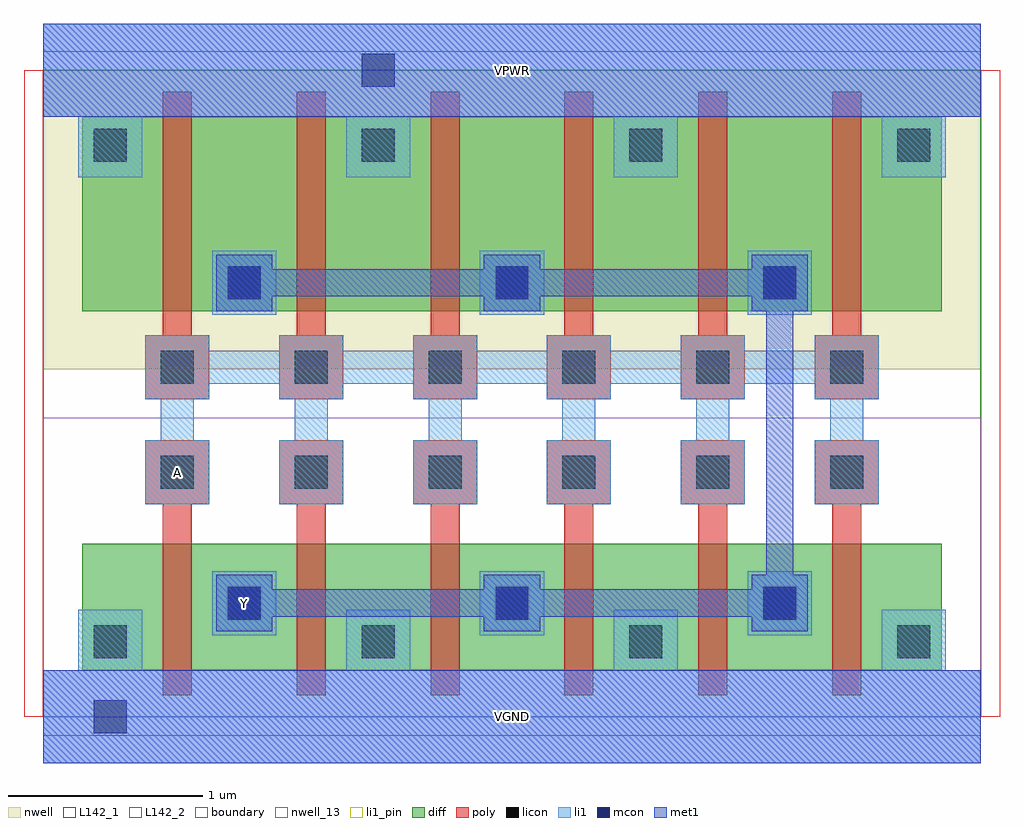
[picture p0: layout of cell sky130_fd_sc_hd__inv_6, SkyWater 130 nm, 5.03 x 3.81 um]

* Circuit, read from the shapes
.subckt sky130_fd_sc_hd__inv_6 A VGND VPWR Y
XM1 Y A VGND VSUBS sky130_fd_pr__nfet_01v8 w=0.65 l=0.15 m=6
XM2 Y A VPWR n1 sky130_fd_pr__pfet_01v8 w=1 l=0.15 m=6
.ends

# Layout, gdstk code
import gdstk
lib = gdstk.Library(unit=1e-6, precision=1e-09)
def R(c, l, rs):  # rectangles x0, y0, x1, y1
    for r in rs: c.add(gdstk.rectangle(r[:2], r[2:], *l))
def A(c, l, x, y, w, h, nx, ny, dx, dy):  # array of equal rectangles
    R(c, l, [(x+i*dx, y+j*dy, x+i*dx+w, y+j*dy+h) for i in range(nx) for j in range(ny)])
def P(c, l, *ps):  # polygons
    for p in ps: c.add(gdstk.Polygon(p, *l))
nwell_13 = (64, 13)
nwell = (64, 20)
diff = (65, 20)
poly = (66, 20)
licon = (66, 44)
li1_pin = (67, 16)
li1 = (67, 20)
mcon = (67, 44)
met1 = (68, 20)
L142_1 = (142, 1)
L142_2 = (142, 2)
boundary = (235, 4)

sky130_fd_sc_hd__inv_6 = lib.new_cell('sky130_fd_sc_hd__inv_6')
R(sky130_fd_sc_hd__inv_6, nwell_13, [(0,0,4.83,1.54)])
R(sky130_fd_sc_hd__inv_6, nwell, [(0,1.79,4.83,3.33)])
A(sky130_fd_sc_hd__inv_6, diff, 0.615, 0.24, 0.69, 0.65, 5, 1, 0.69, 0)
A(sky130_fd_sc_hd__inv_6, diff, 0.615, 2.09, 0.69, 1, 5, 1, 0.69, 0)
R(sky130_fd_sc_hd__inv_6, diff, [(0.2,0.24,4.63,0.89), (0.2,0.24,0.615,0.89), (4.065,0.24,4.63,0.89), (0.2,2.09,4.63,3.09), (0.2,2.09,0.615,3.09), (4.065,2.09,4.63,3.09)])
P(sky130_fd_sc_hd__inv_6, poly, [(0.615,0.11),(0.615,1.095),(0.525,1.095),(0.525,1.425),(0.855,1.425),(0.855,1.095),(0.765,1.095),(0.765,0.11)],
  [(1.305,0.11),(1.305,1.095),(1.215,1.095),(1.215,1.425),(1.545,1.425),(1.545,1.095),(1.455,1.095),(1.455,0.11)],
  [(1.995,0.11),(1.995,1.095),(1.905,1.095),(1.905,1.425),(2.235,1.425),(2.235,1.095),(2.145,1.095),(2.145,0.11)],
  [(2.685,0.11),(2.685,1.095),(2.595,1.095),(2.595,1.425),(2.925,1.425),(2.925,1.095),(2.835,1.095),(2.835,0.11)],
  [(3.375,0.11),(3.375,1.095),(3.285,1.095),(3.285,1.425),(3.615,1.425),(3.615,1.095),(3.525,1.095),(3.525,0.11)],
  [(4.065,0.11),(4.065,1.095),(3.975,1.095),(3.975,1.425),(4.305,1.425),(4.305,1.095),(4.215,1.095),(4.215,0.11)],
  [(0.525,1.635),(0.525,1.965),(0.615,1.965),(0.615,3.22),(0.765,3.22),(0.765,1.965),(0.855,1.965),(0.855,1.635)],
  [(1.215,1.635),(1.215,1.965),(1.305,1.965),(1.305,3.22),(1.455,3.22),(1.455,1.965),(1.545,1.965),(1.545,1.635)],
  [(1.905,1.635),(1.905,1.965),(1.995,1.965),(1.995,3.22),(2.145,3.22),(2.145,1.965),(2.235,1.965),(2.235,1.635)],
  [(2.595,1.635),(2.595,1.965),(2.685,1.965),(2.685,3.22),(2.835,3.22),(2.835,1.965),(2.925,1.965),(2.925,1.635)],
  [(3.285,1.635),(3.285,1.965),(3.375,1.965),(3.375,3.22),(3.525,3.22),(3.525,1.965),(3.615,1.965),(3.615,1.635)],
  [(3.975,1.635),(3.975,1.965),(4.065,1.965),(4.065,3.22),(4.215,3.22),(4.215,1.965),(4.305,1.965),(4.305,1.635)])
A(sky130_fd_sc_hd__inv_6, licon, 0.26, 0.3, 0.17, 0.17, 4, 2, 1.38, 2.56)
A(sky130_fd_sc_hd__inv_6, licon, 0.95, 0.5, 0.17, 0.17, 3, 2, 1.38, 1.65)
A(sky130_fd_sc_hd__inv_6, licon, 0.605, 1.175, 0.17, 0.17, 6, 2, 0.69, 0.54)
R(sky130_fd_sc_hd__inv_6, li1_pin, [(0,-0.24,4.83,0.24), (0.87,0.42,1.2,0.75), (0,3.09,4.83,3.57)])
P(sky130_fd_sc_hd__inv_6, li1_pin, [(0.525,1.095),(0.525,1.425),(0.605,1.425),(0.605,1.635),(0.525,1.635),(0.525,1.965),(0.855,1.965),(0.855,1.885),(1.215,1.885),(1.215,1.965),(1.545,1.965),(1.545,1.885),(1.905,1.885),(1.905,1.965),(2.235,1.965),(2.235,1.885),(2.595,1.885),(2.595,1.965),(2.925,1.965),(2.925,1.885),(3.285,1.885),(3.285,1.965),(3.615,1.965),(3.615,1.885),(3.975,1.885),(3.975,1.965),(4.305,1.965),(4.305,1.635),(4.225,1.635),(4.225,1.425),(4.305,1.425),(4.305,1.095),(3.975,1.095),(3.975,1.425),(4.055,1.425),(4.055,1.635),(3.975,1.635),(3.975,1.715),(3.615,1.715),(3.615,1.635),(3.535,1.635),(3.535,1.425),(3.615,1.425),(3.615,1.095),(3.285,1.095),(3.285,1.425),(3.365,1.425),(3.365,1.635),(3.285,1.635),(3.285,1.715),(2.925,1.715),(2.925,1.635),(2.845,1.635),(2.845,1.425),(2.925,1.425),(2.925,1.095),(2.595,1.095),(2.595,1.425),(2.675,1.425),(2.675,1.635),(2.595,1.635),(2.595,1.715),(2.235,1.715),(2.235,1.635),(2.155,1.635),(2.155,1.425),(2.235,1.425),(2.235,1.095),(1.905,1.095),(1.905,1.425),(1.985,1.425),(1.985,1.635),(1.905,1.635),(1.905,1.715),(1.545,1.715),(1.545,1.635),(1.465,1.635),(1.465,1.425),(1.545,1.425),(1.545,1.095),(1.215,1.095),(1.215,1.425),(1.295,1.425),(1.295,1.635),(1.215,1.635),(1.215,1.715),(0.855,1.715),(0.855,1.635),(0.775,1.635),(0.775,1.425),(0.855,1.425),(0.855,1.095)])
A(sky130_fd_sc_hd__inv_6, li1, 0.87, 0.42, 0.33, 0.33, 3, 2, 1.38, 1.65)
P(sky130_fd_sc_hd__inv_6, li1, [(0.18,2.78),(0.18,3.09),(0,3.09),(0,3.57),(4.83,3.57),(4.83,3.09),(4.65,3.09),(4.65,2.78),(4.32,2.78),(4.32,3.09),(3.27,3.09),(3.27,2.78),(2.94,2.78),(2.94,3.09),(1.89,3.09),(1.89,2.78),(1.56,2.78),(1.56,3.09),(0.51,3.09),(0.51,2.78)],
  [(0,-0.24),(0,0.24),(0.18,0.24),(0.18,0.55),(0.51,0.55),(0.51,0.24),(1.56,0.24),(1.56,0.55),(1.89,0.55),(1.89,0.24),(2.94,0.24),(2.94,0.55),(3.27,0.55),(3.27,0.24),(4.32,0.24),(4.32,0.55),(4.65,0.55),(4.65,0.24),(4.83,0.24),(4.83,-0.24)],
  [(0.525,1.095),(0.525,1.425),(0.605,1.425),(0.605,1.635),(0.525,1.635),(0.525,1.965),(0.855,1.965),(0.855,1.885),(1.215,1.885),(1.215,1.965),(1.545,1.965),(1.545,1.885),(1.905,1.885),(1.905,1.965),(2.235,1.965),(2.235,1.885),(2.595,1.885),(2.595,1.965),(2.925,1.965),(2.925,1.885),(3.285,1.885),(3.285,1.965),(3.615,1.965),(3.615,1.885),(3.975,1.885),(3.975,1.965),(4.305,1.965),(4.305,1.635),(4.225,1.635),(4.225,1.425),(4.305,1.425),(4.305,1.095),(3.975,1.095),(3.975,1.425),(4.055,1.425),(4.055,1.635),(3.975,1.635),(3.975,1.715),(3.615,1.715),(3.615,1.635),(3.535,1.635),(3.535,1.425),(3.615,1.425),(3.615,1.095),(3.285,1.095),(3.285,1.425),(3.365,1.425),(3.365,1.635),(3.285,1.635),(3.285,1.715),(2.925,1.715),(2.925,1.635),(2.845,1.635),(2.845,1.425),(2.925,1.425),(2.925,1.095),(2.595,1.095),(2.595,1.425),(2.675,1.425),(2.675,1.635),(2.595,1.635),(2.595,1.715),(2.235,1.715),(2.235,1.635),(2.155,1.635),(2.155,1.425),(2.235,1.425),(2.235,1.095),(1.905,1.095),(1.905,1.425),(1.985,1.425),(1.985,1.635),(1.905,1.635),(1.905,1.715),(1.545,1.715),(1.545,1.635),(1.465,1.635),(1.465,1.425),(1.545,1.425),(1.545,1.095),(1.215,1.095),(1.215,1.425),(1.295,1.425),(1.295,1.635),(1.215,1.635),(1.215,1.715),(0.855,1.715),(0.855,1.635),(0.775,1.635),(0.775,1.425),(0.855,1.425),(0.855,1.095)])
A(sky130_fd_sc_hd__inv_6, mcon, 0.95, 0.5, 0.17, 0.17, 3, 2, 1.38, 1.65)
R(sky130_fd_sc_hd__inv_6, mcon, [(0.26,-0.085,0.43,0.085), (1.64,3.245,1.81,3.415)])
R(sky130_fd_sc_hd__inv_6, met1, [(0,-0.24,4.83,0.24), (0,3.09,4.83,3.57)])
P(sky130_fd_sc_hd__inv_6, met1, [(0.89,0.44),(0.89,0.73),(1.18,0.73),(1.18,0.655),(2.27,0.655),(2.27,0.73),(2.56,0.73),(2.56,0.655),(3.65,0.655),(3.65,0.73),(3.725,0.73),(3.725,2.09),(3.65,2.09),(3.65,2.165),(2.56,2.165),(2.56,2.09),(2.27,2.09),(2.27,2.165),(1.18,2.165),(1.18,2.09),(0.89,2.09),(0.89,2.38),(1.18,2.38),(1.18,2.305),(2.27,2.305),(2.27,2.38),(2.56,2.38),(2.56,2.305),(3.65,2.305),(3.65,2.38),(3.94,2.38),(3.94,2.09),(3.865,2.09),(3.865,0.73),(3.94,0.73),(3.94,0.44),(3.65,0.44),(3.65,0.515),(2.56,0.515),(2.56,0.44),(2.27,0.44),(2.27,0.515),(1.18,0.515),(1.18,0.44)])
R(sky130_fd_sc_hd__inv_6, L142_1, [(0,-0.1,4.83,0), (0,3.33,4.83,3.43)])
R(sky130_fd_sc_hd__inv_6, L142_2, [(-0.1,0,0,3.33), (4.83,0,4.93,3.33)])
R(sky130_fd_sc_hd__inv_6, boundary, [(0,0,4.83,3.33)])
sky130_fd_sc_hd__inv_6.add(gdstk.Label('Y', (1.035,0.585), layer=67, texttype=5))
sky130_fd_sc_hd__inv_6.add(gdstk.Label('A', (0.69,1.26), layer=67, texttype=5))
sky130_fd_sc_hd__inv_6.add(gdstk.Label('VGND', (2.415,0), layer=67, texttype=5))
sky130_fd_sc_hd__inv_6.add(gdstk.Label('VPWR', (2.415,3.33), layer=67, texttype=5))
sky130_fd_sc_hd__inv_6.add(gdstk.Label('VGND', (2.415,0), layer=68, texttype=5))
sky130_fd_sc_hd__inv_6.add(gdstk.Label('VPWR', (2.415,3.33), layer=68, texttype=5))

lib.write_gds('sky130_fd_sc_hd__inv_6.gds')
